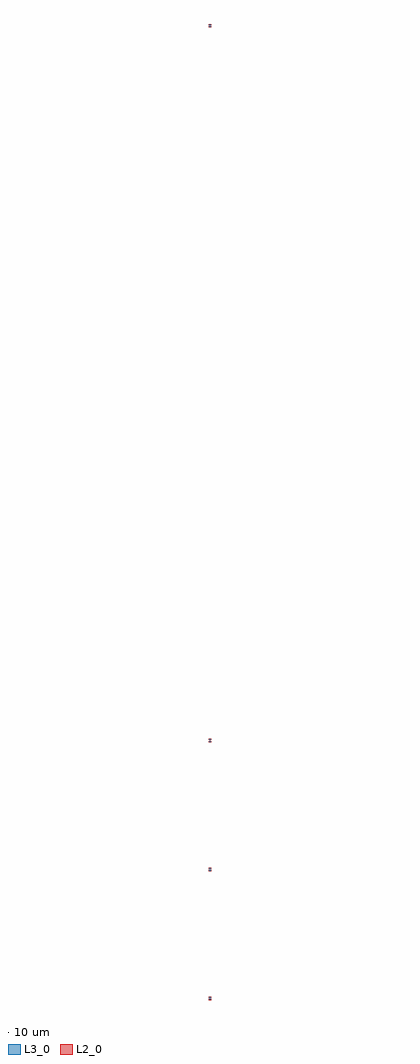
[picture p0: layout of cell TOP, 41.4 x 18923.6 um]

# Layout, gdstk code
import gdstk
lib = gdstk.Library(unit=1e-6, precision=1e-09)
def P(c, l, *ps):  # polygons
    for p in ps: c.add(gdstk.Polygon(p, *l))
L2_0 = (2, 0)
L3_0 = (3, 0)

q17gap = lib.new_cell('Q17GAP')
P(q17gap, L2_0, [(779.3,2253.3),(779.3,2274),(798.93,2284),(799.43,2284),(799.43,2286),(799.63,2286),(799.63,2284),(780,2274),(780,2254),(820,2254),(820,2274),(800.37,2284),(800.37,2286),(797.3,2286),(797.3,2286.2),(796.8,2286.2),(779.3,2296.2),(779.3,2316.2),(780,2316.2),(780,2296.2),(797.5,2286.2),(802.5,2286.2),(820,2296.2),(820,2316.2),(779.3,2316.2),(779.3,2316.9),(820.7,2316.9),(820.7,2296.2),(803.2,2286.2),(802.7,2286.2),(802.7,2286),(800.57,2286),(800.57,2284),(801.07,2284),(820.7,2274),(820.7,2253.3)],
  [(779.3,4753.3),(779.3,4774),(798.93,4784),(799.43,4784),(799.43,4786),(799.63,4786),(799.63,4784),(780,4774),(780,4754),(820,4754),(820,4774),(800.37,4784),(800.37,4786),(797.3,4786),(797.3,4786.2),(796.8,4786.2),(779.3,4796.2),(779.3,4816.2),(780,4816.2),(780,4796.2),(797.5,4786.2),(802.5,4786.2),(820,4796.2),(820,4816.2),(779.3,4816.2),(779.3,4816.9),(820.7,4816.9),(820.7,4796.2),(803.2,4786.2),(802.7,4786.2),(802.7,4786),(800.57,4786),(800.57,4784),(801.07,4784),(820.7,4774),(820.7,4753.3)],
  [(779.3,7253.3),(779.3,7274),(798.93,7284),(799.43,7284),(799.43,7286),(799.63,7286),(799.63,7284),(780,7274),(780,7254),(820,7254),(820,7274),(800.37,7284),(800.37,7286),(797.3,7286),(797.3,7286.2),(796.8,7286.2),(779.3,7296.2),(779.3,7316.2),(780,7316.2),(780,7296.2),(797.5,7286.2),(802.5,7286.2),(820,7296.2),(820,7316.2),(779.3,7316.2),(779.3,7316.9),(820.7,7316.9),(820.7,7296.2),(803.2,7286.2),(802.7,7286.2),(802.7,7286),(800.57,7286),(800.57,7284),(801.07,7284),(820.7,7274),(820.7,7253.3)],
  [(779.3,21113.3),(779.3,21134),(798.93,21144),(799.43,21144),(799.43,21146),(799.63,21146),(799.63,21144),(780,21134),(780,21114),(820,21114),(820,21134),(800.37,21144),(800.37,21146),(797.3,21146),(797.3,21146.2),(796.8,21146.2),(779.3,21156.2),(779.3,21176.2),(780,21176.2),(780,21156.2),(797.5,21146.2),(802.5,21146.2),(820,21156.2),(820,21176.2),(779.3,21176.2),(779.3,21176.9),(820.7,21176.9),(820.7,21156.2),(803.2,21146.2),(802.7,21146.2),(802.7,21146),(800.57,21146),(800.57,21144),(801.07,21144),(820.7,21134),(820.7,21113.3)])

q17pin = lib.new_cell('Q17PIN')
P(q17pin, L3_0, [(780,2254),(780,2274),(799.63,2284),(799.63,2286),(800.37,2286),(800.37,2284),(820,2274),(820,2254)],
  [(797.5,2286.2),(780,2296.2),(780,2316.2),(820,2316.2),(820,2296.2),(802.5,2286.2)],
  [(780,4754),(780,4774),(799.63,4784),(799.63,4786),(800.37,4786),(800.37,4784),(820,4774),(820,4754)],
  [(797.5,4786.2),(780,4796.2),(780,4816.2),(820,4816.2),(820,4796.2),(802.5,4786.2)],
  [(780,7254),(780,7274),(799.63,7284),(799.63,7286),(800.37,7286),(800.37,7284),(820,7274),(820,7254)],
  [(797.5,7286.2),(780,7296.2),(780,7316.2),(820,7316.2),(820,7296.2),(802.5,7286.2)],
  [(780,21114),(780,21134),(799.63,21144),(799.63,21146),(800.37,21146),(800.37,21144),(820,21134),(820,21114)],
  [(797.5,21146.2),(780,21156.2),(780,21176.2),(820,21176.2),(820,21156.2),(802.5,21146.2)])

q17 = lib.new_cell('Q17')

top = lib.new_cell('TOP')
top.add(gdstk.Reference(q17gap, (0,0)))
top.add(gdstk.Reference(q17pin, (0,0)))
top.add(gdstk.Reference(q17, (0,0)))

lib.write_gds('TOP.gds')
